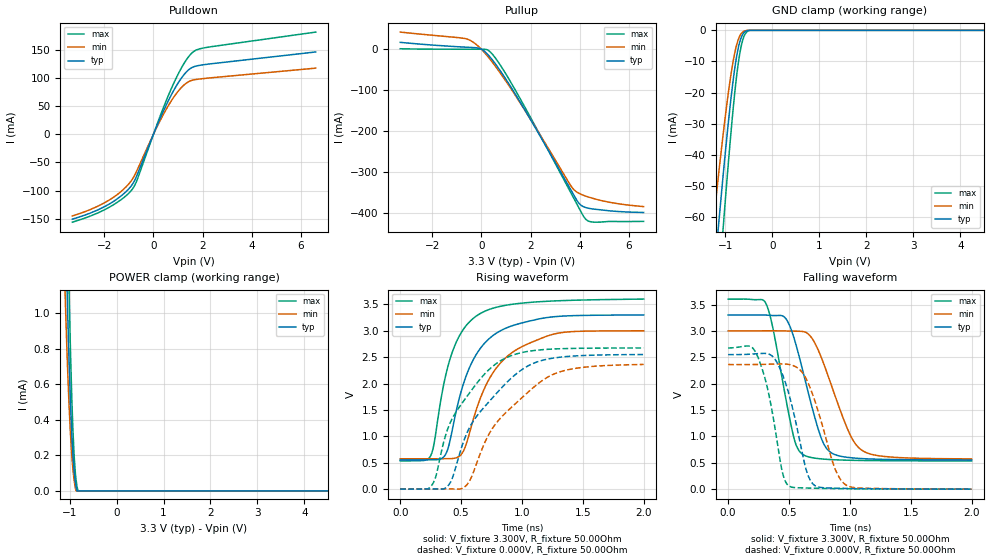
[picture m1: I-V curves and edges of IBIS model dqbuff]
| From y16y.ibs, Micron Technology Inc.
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|   MODEL DQBUFF
[Model]   dqbuff
Model_type   I/O
Vinl = 800.000mV
Vinh = 2.000V
Vmeas = 1.500V
Cref = 50.000pF
|   typ   min   max
C_comp   3.690pF   3.090pF   4.380pF
[Voltage Range]   3.300V   3.000V   3.600V
| Junction Temperature (Ambient temp is 25C typ, 70C min, 0C max)
[Temperature Range]   40.0   85.0   0.0
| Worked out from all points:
|   slope of the pulldown table from 0 to 0.495 V, typ, clamps not added: 9.96 ohm
|   slope of the pullup table from 0 to 0.495 V, typ, clamps not added: 16.6 ohm
|   GND clamp passes 1 mA (typ) near -0.62 V on its own axis
|   POWER clamp passes 1 mA (typ) near -1.04 V on its own axis
|   falling waveform, V_fixture 3.300V, R_fixture 50.00Ohm: 20-80 % time 189ps typ, 235ps min, 150ps max; typ from 3.3 V to 0.552 V
|   rising waveform, V_fixture 3.300V, R_fixture 50.00Ohm: 20-80 % time 262ps typ, 310ps min, 210ps max; typ from 0.552 V to 3.3 V
|   rising waveform, V_fixture 0.000V, R_fixture 50.00Ohm: 20-80 % time 416ps typ, 451ps min, 356ps max; typ from 0 V to 2.55 V
|   falling waveform, V_fixture 0.000V, R_fixture 50.00Ohm: 20-80 % time 158ps typ, 185ps min, 130ps max; typ from 2.55 V to 0 V
[Pulldown]
|   Voltage   I(typ)   I(min)   I(max)
-3.3V     -150.9mA   -145.3mA   -156.3mA
-2.56V    -139.9mA   -133.7mA   -145.3mA
-1.755V   -122.9mA   -115.7mA   -128.6mA
-1.225V   -106.3mA   -98.14mA   -113.2mA
-855mV    -88.76mA   -79.64mA   -97.26mA
-665mV    -72.37mA   -63.81mA   -80.99mA
130mV     13.78mA    11.91mA    15.67mA
635mV     62.24mA    52.98mA    71.87mA
1.16V     101.2mA    84.12mA    119.7mA
1.595V    119.1mA    96.14mA    145.6mA
2.235V    124.7mA    99.86mA    154.8mA
6.6V      146.2mA    117.5mA    181.6mA
[GND Clamp]
|   Voltage   I(typ)   I(min)   I(max)
-3.3V     -700.2mA   -647mA     -759.4mA
-1.275V   -84.87mA   -64.86mA   -109.5mA
-1.25V    -80.5mA    -61.18mA   -104.3mA
-1.145V   -62.5mA    -46.33mA   -82.84mA
-1.045V   -46.11mA   -33.05mA   -63.03mA
-1.035V   -44.52mA   -31.78mA   -61.09mA
-895mV    -23.77mA   -15.6mA    -35.23mA
-785mV    -10.68mA   -6.183mA   -17.89mA
-690mV    -3.532mA   -1.723mA   -7.156mA
-600mV    -670.2uA   -273.3uA   -1.783mA
-450mV    0A         0A         0A
6.6V      0A         0A         0A
[Pullup]
|   Voltage   I(typ)   I(min)   I(max)
-3.3V     16.75mA    41.84mA    1.196mA
-585mV    4.837mA    24.85mA    9.469uA
-95mV     2.259mA    5.58mA     2.881uA
290mV     -14.93mA   -19.82mA   -3.162mA
620mV     -39.97mA   -45.74mA   -25.58mA
1.245V    -96.54mA   -100.2mA   -85.61mA
3.685V    -348.2mA   -337.4mA   -355.5mA
3.965V    -375.7mA   -351.5mA   -387.1mA
4.24V     -386.3mA   -358.5mA   -414.7mA
4.6V      -390.5mA   -365.2mA   -422.2mA
5.495V    -395.8mA   -376.5mA   -420.5mA
6.6V      -398.5mA   -384.2mA   -420.2mA
[POWER Clamp]
|   Voltage   I(typ)   I(min)   I(max)
-3.3V     46.79mA    38.93mA    54.66mA
-1.095V   1.605mA    1.116mA    2.328mA
-1.055V   1.156mA    787.2uA    1.722mA
-1.04V    1.003mA    677.5uA    1.51mA
-1.01V    726.9uA    481.4uA    1.121mA
-980mV    494uA      319.4uA    783.6uA
-945mV    281.8uA    174.5uA    466.5uA
-900mV    105uA      55.29uA    189.5uA
-870mV    36.88uA    8.823uA    82.39uA
-845mV    1.962uA    0A         29.39uA
-820mV    0A         0A         0A
6.6V      0A         0A         0A
[Ramp]
R_load = 50.00Ohm
|   typ   min   max
dV/dt_r   1.531V/416.142ps   1.418V/450.858ps   1.605V/355.858ps
dV/dt_f   1.649V/189.406ps   1.456V/234.576ps   1.841V/149.773ps
[Falling Waveform]
V_fixture = 3.300V
V_fixture_min = 3.000V
V_fixture_max = 3.600V
R_fixture = 50.00Ohm
|   Time   V(typ)   V(min)   V(max)
0s        3.301V     3.001V     3.602V
310ps     3.3V       3.002V     3.522V
370ps     3.291V     3.002V     3.025V
480ps     3.214V     2.998V     1.639V
550ps     2.797V     2.995V     892.9mV
610ps     2.274V     2.99V      662.9mV
790ps     836.9mV    2.347V     568.7mV
980ps     602.8mV    1.145V     548.7mV
1.09ns    580.6mV    752.3mV    543.9mV
2ns       552.1mV    573.5mV    533.8mV
[Rising Waveform]
V_fixture = 3.300V
V_fixture_min = 3.000V
V_fixture_max = 3.600V
R_fixture = 50.00Ohm
|   Time   V(typ)   V(min)   V(max)
0s        552.1mV    573.5mV    533.8mV
250ps     554.2mV    573.4mV    629.6mV
280ps     554.9mV    573.7mV    887.7mV
370ps     646.8mV    575.1mV    2.121V
510ps     1.926V     684.5mV    2.998V
630ps     2.572V     1.542V     3.288V
790ps     2.955V     2.296V     3.446V
1.02ns    3.161V     2.722V     3.53V
1.33ns    3.278V     2.967V     3.572V
2ns       3.301V     3.001V     3.602V
[Rising Waveform]
V_fixture = 0.000V
V_fixture_min = 0.000V
V_fixture_max = 0.000V
R_fixture = 50.00Ohm
|   Time   V(typ)   V(min)   V(max)
0s        -343.4uV   -449.9uV   -257.3uV
250ps     3.214mV    -601.6uV   44.86mV
290ps     3.038mV    -59.5uV    218.8mV
390ps     55.31mV    3.691mV    1.139V
560ps     1.122V     117.2mV    1.793V
710ps     1.606V     957.6mV    2.221V
830ps     1.912V     1.361V     2.44V
1.05ns    2.335V     1.836V     2.61V
1.28ns    2.49V      2.196V     2.657V
2ns       2.551V     2.362V     2.675V
[Falling Waveform]
V_fixture = 0.000V
V_fixture_min = 0.000V
V_fixture_max = 0.000V
R_fixture = 50.00Ohm
|   Time   V(typ)   V(min)   V(max)
0s        2.551V     2.362V     2.675V
240ps     2.568V     2.363V     2.526V
310ps     2.572V     2.367V     2.037V
380ps     2.477V     2.371V     1.225V
450ps     2.151V     2.373V     280.9mV
510ps     1.71V      2.359V     46.74mV
680ps     147.3mV    1.884V     18.85mV
870ps     19.11mV    436.3mV    10.58mV
970ps     14.17mV    75.69mV    7.919mV
2ns       -343.4uV   -449.9uV   -257.3uV
